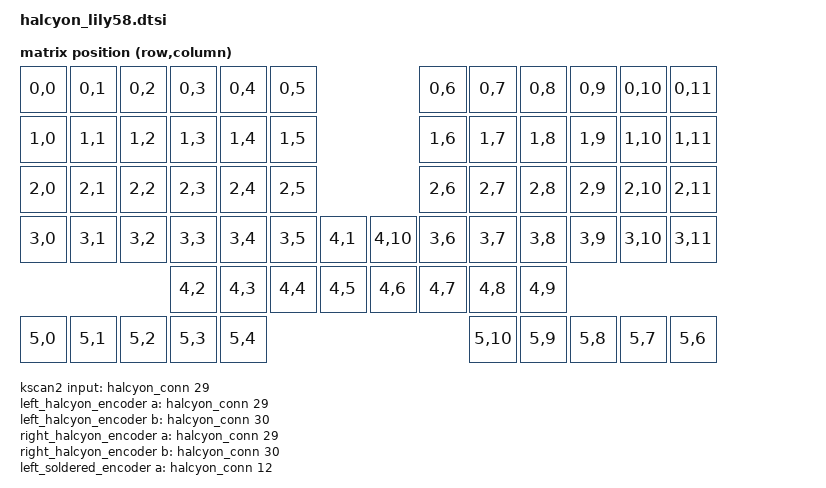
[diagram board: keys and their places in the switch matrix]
/*
 * Copyright (c) 2022 The ZMK Contributors
 * Copyright (c) 2026 Splitkb.com
 *
 * SPDX-License-Identifier: MIT
 */

#include <dt-bindings/zmk/matrix_transform.h>
#include "halcyon_lily58-layouts.dtsi"
#include "vik_connector.dtsi"

&splitkb_halcyon_lily58 {
    transform = <&default_transform>;
};

/ {
    chosen {
        zmk,kscan = &kscan0;
        zmk,physical-layout = &splitkb_halcyon_lily58;
    };

    trackpad_listener: trackpad_listener {
        compatible = "zmk,input-listener";
        status = "disabled";
    };

    kscan0: kscan_composite {
        compatible = "zmk,kscan-composite";
        rows = <6>;
        columns = <12>;
        wakeup-source;

        matrix {
            kscan = <&kscan1>;
        };

        direct {
            kscan = <&kscan2>;
            row-offset = <5>;
        };
    };

    kscan2: kscan_direct {
        compatible = "zmk,kscan-gpio-direct";
        wakeup-source;

        input-gpios = <&halcyon_conn 29 (GPIO_ACTIVE_LOW | GPIO_PULL_UP)>; // Dummy pin
    };

    default_transform: keymap_transform_0 {
        compatible = "zmk,matrix-transform";
        columns = <12>;
        rows = <6>;
        // | SW6  | SW5  | SW4  | SW3  | SW2  | SW1  |                 | SW1  | SW2  | SW3  | SW4  | SW5  | SW6  |
        // | SW12 | SW11 | SW10 | SW9  | SW8  | SW7  |                 | SW7  | SW8  | SW9  | SW10 | SW11 | SW12 |
        // | SW18 | SW17 | SW16 | SW15 | SW14 | SW13 |                 | SW13 | SW14 | SW15 | SW16 | SW17 | SW18 |
        // | SW24 | SW23 | SW22 | SW21 | SW20 | SW19 | SW25 |   | SW25 | SW19 | SW20 | SW21 | SW22 | SW23 | SW24 |
        //                      | SW29 | SW28 | SW27 | SW26 |   | SW26 | SW27 | SW28 | SW29 |
        // | D0   | D1   | D2   | D3   | D4   |                               | D4   | D3   | D2   | D1   | D0   |
        map = <
        RC(0,0) RC(0,1) RC(0,2) RC(0,3) RC(0,4) RC(0,5)                 RC(0,6) RC(0,7) RC(0,8) RC(0,9) RC(0,10) RC(0,11)
        RC(1,0) RC(1,1) RC(1,2) RC(1,3) RC(1,4) RC(1,5)                 RC(1,6) RC(1,7) RC(1,8) RC(1,9) RC(1,10) RC(1,11)
        RC(2,0) RC(2,1) RC(2,2) RC(2,3) RC(2,4) RC(2,5)                 RC(2,6) RC(2,7) RC(2,8) RC(2,9) RC(2,10) RC(2,11)
        RC(3,0) RC(3,1) RC(3,2) RC(3,3) RC(3,4) RC(3,5) RC(4,1) RC(4,10) RC(3,6) RC(3,7) RC(3,8) RC(3,9) RC(3,10) RC(3,11)
                                RC(4,2) RC(4,3) RC(4,4) RC(4,5) RC(4,6) RC(4,7) RC(4,8) RC(4,9)
        RC(5,0) RC(5,1) RC(5,2) RC(5,3) RC(5,4)                                 RC(5,10) RC(5,9) RC(5,8) RC(5,7) RC(5,6)
        >;
    };

    left_halcyon_encoder: halcyon_encoder_left {
        compatible = "alps,ec11";
        a-gpios = <&halcyon_conn 29 (GPIO_ACTIVE_HIGH | GPIO_PULL_UP)>; // Dummy pin
        b-gpios = <&halcyon_conn 30 (GPIO_ACTIVE_HIGH | GPIO_PULL_UP)>; // Dummy pin
        steps = <80>;
        status = "disabled";
    };

    right_halcyon_encoder: halcyon_encoder_right {
        compatible = "alps,ec11";
        a-gpios = <&halcyon_conn 29 (GPIO_ACTIVE_HIGH | GPIO_PULL_UP)>; // Dummy pin
        b-gpios = <&halcyon_conn 30 (GPIO_ACTIVE_HIGH | GPIO_PULL_UP)>; // Dummy pin
        steps = <80>;
        status = "disabled";
    };
    
    left_soldered_encoder: soldered_encoder_left {
        compatible = "alps,ec11";
        a-gpios = <&halcyon_conn 12 (GPIO_ACTIVE_HIGH | GPIO_PULL_UP)>;
        b-gpios = <&halcyon_conn 13 (GPIO_ACTIVE_HIGH | GPIO_PULL_UP)>;
        steps = <80>;
        status = "disabled";
    };

    right_soldered_encoder: soldered_encoder_right {
        compatible = "alps,ec11";
        a-gpios = <&halcyon_conn 12 (GPIO_ACTIVE_HIGH | GPIO_PULL_UP)>;
        b-gpios = <&halcyon_conn 13 (GPIO_ACTIVE_HIGH | GPIO_PULL_UP)>;
        steps = <80>;
        status = "disabled";
    };

    sensors: sensors {
        compatible = "zmk,keymap-sensors";
        sensors = <&left_halcyon_encoder &right_halcyon_encoder &left_soldered_encoder &right_soldered_encoder>;
        triggers-per-rotation = <20>;
    };
};
